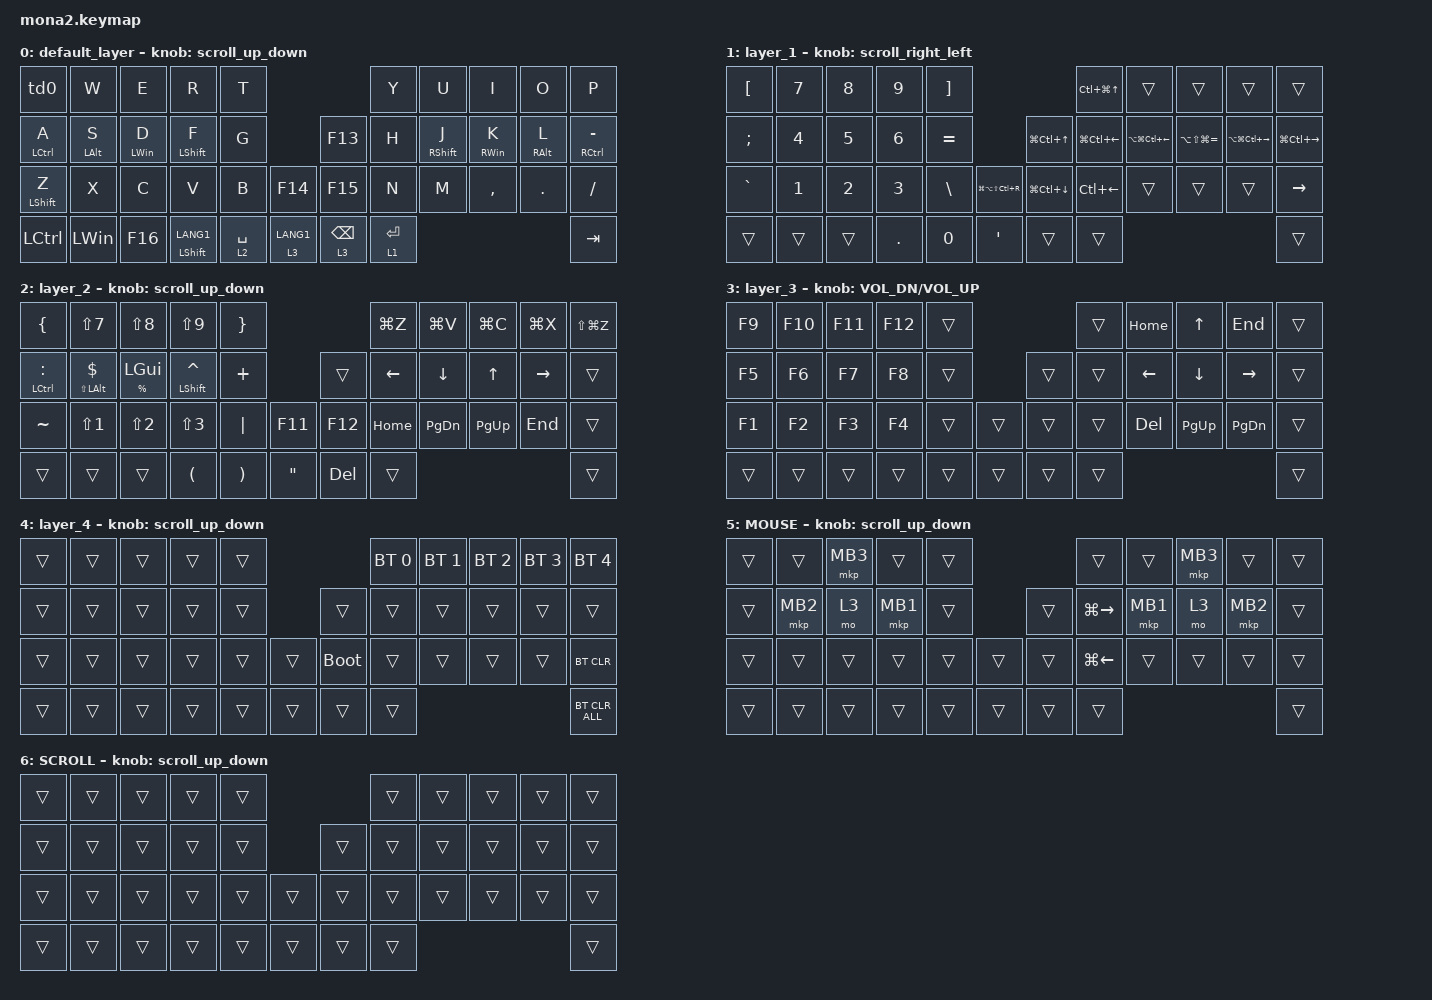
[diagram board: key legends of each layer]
#include <input/processors.dtsi>
#include <dt-bindings/zmk/input_transform.h>
#include <zephyr/dt-bindings/input/input-event-codes.h>
#include <behaviors.dtsi>
#include <dt-bindings/zmk/bt.h>
#include <dt-bindings/zmk/keys.h>
#include <dt-bindings/zmk/pointing.h>

#define ZMK_POINTING_DEFAULT_SCRL_VAL 100
#define MOUSE 5
#define SCROLL 6

&mt {
    flavor = "balanced";
    quick-tap-ms = <0>;
};

&lt {
    quick-tap-ms = <300>;
    flavor = "balanced";
};

/ {
    combos {
        compatible = "zmk,combos";

        layer4_ESC {
            bindings = <&lt 4 ESC>;
            key-positions = <39 38>;
        };

        tab {
            bindings = <&kp TAB>;
            key-positions = <11 12>;
        };
    };

    macros {
        to_layer_0: to_layer_0 {
            compatible = "zmk,behavior-macro-one-param";
            #binding-cells = <1>;
            bindings = <&to 0 &macro_param_1to1 &kp MACRO_PLACEHOLDER>;
            label = "TO_LAYER_0";
        };
    };

    behaviors {
        lt_to_layer_0: lt_to_layer_0 {
            compatible = "zmk,behavior-hold-tap";
            label = "LAYER_TAP_TO_0";
            bindings = <&mo>, <&to_layer_0>;

            #binding-cells = <2>;
            tapping-term-ms = <200>;
        };

        scroll_up_down: mouse_wheel_up_down {
            compatible = "zmk,behavior-sensor-rotate";
            #sensor-binding-cells = <0>;
            bindings = <&msc SCRL_DOWN>, <&msc SCRL_UP>;

            tap-ms = <20>;
        };

        scroll_right_left: mouse_wheel_right_left {
            compatible = "zmk,behavior-sensor-rotate";
            #sensor-binding-cells = <0>;
            bindings = <&msc SCRL_LEFT>, <&msc SCRL_RIGHT>;

            tap-ms = <20>;
        };

        td0: tap_dance_0 {
            compatible = "zmk,behavior-tap-dance";
            #binding-cells = <0>;
            tapping-term-ms = <200>;
            bindings = <&kp Q>, <&kp ESC>;
        };
    };

    keymap {
        compatible = "zmk,keymap";

        default_layer {
            bindings = <
&td0              &kp W           &kp E           &kp R                 &kp T                                                              &kp Y        &kp U              &kp I            &kp O            &kp P
&mt LCTRL A       &mt LEFT_ALT S  &mt LEFT_WIN D  &mt LEFT_SHIFT F      &kp G                                  &kp F13                     &kp H        &mt RIGHT_SHIFT J  &mt RIGHT_WIN K  &mt RIGHT_ALT L  &mt RCTRL MINUS
&mt LEFT_SHIFT Z  &kp X           &kp C           &kp V                 &kp B        &kp F14                   &kp F15                     &kp N        &kp M              &kp COMMA        &kp DOT          &kp SLASH
&kp LCTRL         &kp LEFT_WIN    &kp F16         &mt LEFT_SHIFT LANG1  &lt 2 SPACE  &lt_to_layer_0 3 LANG1    &lt_to_layer_0 3 BACKSPACE  &lt 1 ENTER                                                       &kp TAB
            >;

            sensor-bindings = <&scroll_up_down>;
        };

        layer_1 {
            bindings = <
&kp LEFT_BRACKET  &kp NUMBER_7  &kp NUMBER_8  &kp NUMBER_9  &kp RIGHT_BRACKET                                                 &kp LC(LG(UP_ARROW))    &trans                      &trans                 &trans                       &trans
&kp SEMI          &kp NUMBER_4  &kp NUMBER_5  &kp NUMBER_6  &kp EQUAL                                   &kp LG(LC(UP_ARROW))  &kp LG(LC(LEFT_ARROW))  &kp LA(LG(LC(LEFT_ARROW)))  &kp LA(LS(LG(EQUAL)))  &kp LA(LG(LC(RIGHT_ARROW)))  &kp LG(LC(RIGHT_ARROW))
&kp GRAVE         &kp NUMBER_1  &kp NUMBER_2  &kp NUMBER_3  &kp BACKSLASH      &kp LG(LA(LS(LC(R))))    &kp LG(LC(DOWN))      &kp LC(LEFT_ARROW)      &trans                      &trans                 &trans                       &kp RIGHT_ARROW
&trans            &trans        &trans        &kp PERIOD    &kp NUMBER_0       &kp SINGLE_QUOTE         &trans                &trans                                                                                                  &trans
            >;

            sensor-bindings = <&scroll_right_left>;
        };

        layer_2 {
            bindings = <
&kp LEFT_BRACE          &kp LS(N7)               &kp LS(NUMBER_8)      &kp LS(NUMBER_9)      &kp RIGHT_BRACE                                         &kp LG(Z)       &kp LG(V)  &kp LG(C)  &kp LG(X)        &kp LS(LG(Z))
&mt LEFT_CONTROL COLON  &mt LS(LEFT_ALT) DOLLAR  &mt PERCENT LEFT_GUI  &mt LEFT_SHIFT CARET  &kp PLUS                                    &trans      &kp LEFT_ARROW  &kp DOWN   &kp UP     &kp RIGHT_ARROW  &trans
&kp TILDE               &kp LS(NUMBER_1)         &kp LS(NUMBER_2)      &kp LS(NUMBER_3)      &kp PIPE               &kp F11              &kp F12     &kp HOME        &kp PG_DN  &kp PG_UP  &kp END          &trans
&trans                  &trans                   &trans                &kp LEFT_PARENTHESIS  &kp RIGHT_PARENTHESIS  &kp DOUBLE_QUOTES    &kp DELETE  &trans                                                 &trans
            >;

            sensor-bindings = <&scroll_up_down>;
        };

        layer_3 {
            bindings = <
&kp F9  &kp F10  &kp F11  &kp F12  &trans                    &trans  &kp HOME        &kp UP_ARROW    &kp END          &trans
&kp F5  &kp F6   &kp F7   &kp F8   &trans            &trans  &trans  &kp LEFT_ARROW  &kp DOWN_ARROW  &kp RIGHT_ARROW  &trans
&kp F1  &kp F2   &kp F3   &kp F4   &trans  &trans    &trans  &trans  &kp DELETE      &kp PAGE_UP     &kp PAGE_DOWN    &trans
&trans  &trans   &trans   &trans   &trans  &trans    &trans  &trans                                                   &trans
            >;

            sensor-bindings = <&inc_dec_kp C_VOL_DN C_VOL_UP>;
        };

        layer_4 {
            bindings = <
&trans  &trans  &trans  &trans  &trans                         &bt BT_SEL 0  &bt BT_SEL 1  &bt BT_SEL 2  &bt BT_SEL 3  &bt BT_SEL 4
&trans  &trans  &trans  &trans  &trans            &trans       &trans        &trans        &trans        &trans        &trans
&trans  &trans  &trans  &trans  &trans  &trans    &bootloader  &trans        &trans        &trans        &trans        &bt BT_CLR
&trans  &trans  &trans  &trans  &trans  &trans    &trans       &trans                                                  &bt BT_CLR_ALL
            >;

            sensor-bindings = <&scroll_up_down>;
        };

        MOUSE {
            bindings = <
&trans  &trans    &mkp MB3  &trans    &trans                    &trans         &trans    &mkp MB3  &trans    &trans
&trans  &mkp MB2  &mo 3     &mkp MB1  &trans            &trans  &kp LG(RIGHT)  &mkp MB1  &mo 3     &mkp MB2  &trans
&trans  &trans    &trans    &trans    &trans  &trans    &trans  &kp LG(LEFT)   &trans    &trans    &trans    &trans
&trans  &trans    &trans    &trans    &trans  &trans    &trans  &trans                                       &trans
            >;

            sensor-bindings = <&scroll_up_down>;
        };

        SCROLL {
            bindings = <
&trans  &trans  &trans  &trans  &trans                    &trans  &trans  &trans  &trans  &trans
&trans  &trans  &trans  &trans  &trans            &trans  &trans  &trans  &trans  &trans  &trans
&trans  &trans  &trans  &trans  &trans  &trans    &trans  &trans  &trans  &trans  &trans  &trans
&trans  &trans  &trans  &trans  &trans  &trans    &trans  &trans                          &trans
            >;

            sensor-bindings = <&scroll_up_down>;
        };
    };
};
